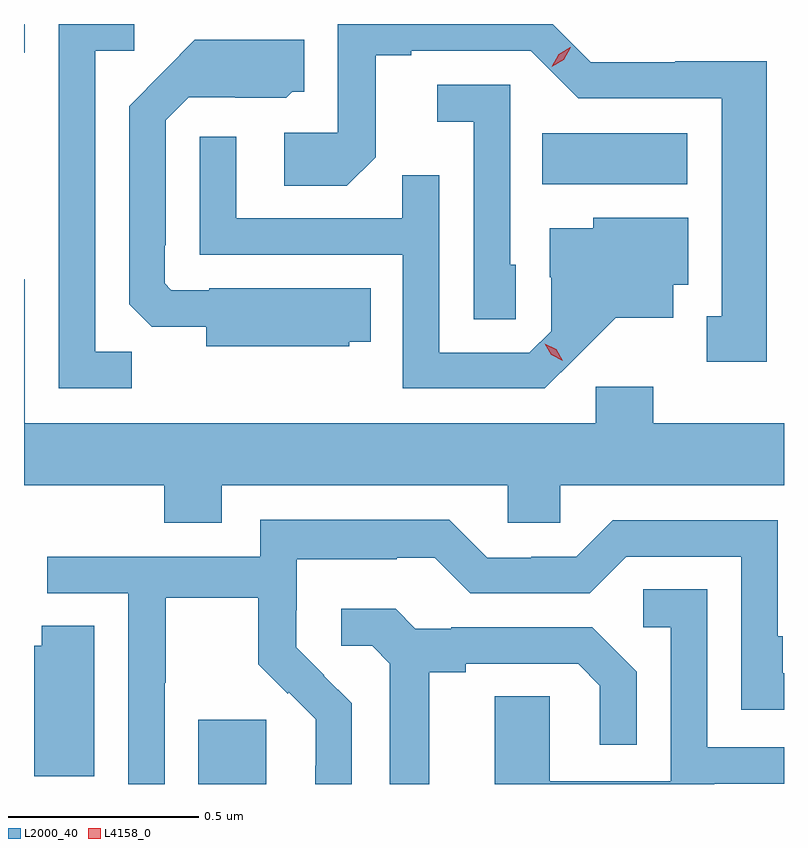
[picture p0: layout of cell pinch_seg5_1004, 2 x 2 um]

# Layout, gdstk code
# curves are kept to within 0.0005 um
import gdstk
lib = gdstk.Library(unit=1e-6, precision=1e-09)
def R(c, l, rs):  # rectangles x0, y0, x1, y1
    for r in rs: c.add(gdstk.rectangle(r[:2], r[2:], *l))
def P(c, l, *ps):  # polygons
    for p in ps: c.add(gdstk.Polygon(p, *l))
L2000_40 = (2000, 40)
L4158_0 = (4158, 0)

pinch_seg5_1004 = lib.new_cell('pinch_seg5_1004')
R(pinch_seg5_1004, L2000_40, [(748.073,910.586,748.252,910.755), (748.978,912.164,749.359,912.298), (747.614,912.51,747.616,912.586)])
P(pinch_seg5_1004, L2000_40, [(749.569,912.488),(749.328,912.488),(749.328,912.486),(749.106,912.486),(749.006,912.586),(748.44,912.586),(748.44,912.3),(748.299,912.3),(748.299,912.16),(748.463,912.16),(748.539,912.236),(748.539,912.504),(748.633,912.504),(748.633,912.516),(748.947,912.516),(749.073,912.39),(749.45,912.39),(749.45,911.817),(749.411,911.817),(749.411,911.697),(749.569,911.697)],
  [(747.897,911.723),(747.801,911.723),(747.801,912.516),(747.904,912.516),(747.904,912.586),(747.705,912.586),(747.705,911.628),(747.897,911.628)],
  [(748.47,911.75),(748.526,911.75),(748.526,911.89),(748.102,911.89),(748.102,911.886),(748.002,911.886),(747.984,911.904),(747.984,912.004),(747.987,912.004),(747.987,912.333),(748.047,912.393),(748.17,912.393),(748.17,912.392),(748.304,912.392),(748.32,912.408),(748.351,912.408),(748.351,912.544),(748.063,912.544),(747.891,912.37),(747.891,911.848),(747.95,911.789),(748.094,911.789),(748.094,911.738),(748.47,911.738)],
  [(748.908,911.952),(748.893,911.952),(748.893,912.426),(748.701,912.426),(748.701,912.329),(748.797,912.329),(748.797,911.809),(748.908,911.809)],
  [(749.068,911.711),(749.171,911.813),(749.323,911.813),(749.323,911.9),(749.362,911.9),(749.362,912.076),(749.112,912.076),(749.112,912.049),(748.997,912.049),(748.997,911.92),(749.001,911.92),(749.001,911.778),(748.944,911.721),(748.707,911.721),(748.707,912.188),(748.609,912.188),(748.609,912.075),(748.173,912.075),(748.173,912.289),(748.077,912.289),(748.077,911.979),(748.611,911.979),(748.611,911.628),(748.984,911.628)],
  [(748.135,911.372),(748.887,911.372),(748.887,911.274),(749.025,911.274),(749.025,911.372),(749.614,911.372),(749.614,911.536),(749.27,911.536),(749.27,911.632),(749.118,911.632),(749.118,911.536),(747.616,911.536),(747.616,911.914),(747.614,911.914),(747.614,911.372),(747.983,911.372),(747.983,911.273),(748.135,911.273)],
  [(747.984,910.852),(747.987,910.852),(747.987,911.076),(748.231,911.076),(748.231,910.901),(748.308,910.824),(748.311,910.827),(748.382,910.757),(748.382,910.634),(748.38,910.634),(748.38,910.586),(748.476,910.586),(748.476,910.798),(748.403,910.871),(748.404,910.872),(748.33,910.946),(748.33,911.043),(748.332,911.043),(748.332,911.177),(748.595,911.177),(748.595,911.181),(748.695,911.181),(748.788,911.088),(749.103,911.088),(749.199,911.184),(749.502,911.184),(749.502,910.782),(749.614,910.782),(749.614,910.878),(749.611,910.878),(749.611,910.975),(749.598,910.975),(749.598,911.28),(749.163,911.28),(749.067,911.184),(748.949,911.184),(748.949,911.181),(748.833,911.181),(748.733,911.281),(748.236,911.281),(748.236,911.184),(747.675,911.184),(747.675,911.088),(747.888,911.088),(747.888,910.586),(747.984,910.586)],
  [(749.431,910.587),(749.614,910.587),(749.614,910.683),(749.412,910.683),(749.412,911.099),(749.244,911.099),(749.244,910.998),(749.316,910.998),(749.316,910.593),(748.998,910.593),(748.998,910.817),(748.853,910.817),(748.853,910.586),(749.431,910.586)],
  [(748.681,910.88),(748.777,910.88),(748.777,910.902),(749.072,910.902),(749.129,910.845),(749.129,910.689),(749.226,910.689),(749.226,910.882),(749.11,910.998),(748.738,910.998),(748.738,910.995),(748.644,910.995),(748.592,911.047),(748.449,911.047),(748.449,910.95),(748.53,910.95),(748.577,910.903),(748.577,910.586),(748.681,910.586)],
  [(747.799,911.003),(747.661,911.003),(747.661,910.95),(747.641,910.95),(747.641,910.606),(747.799,910.606)])
P(pinch_seg5_1004, L4158_0, [(749.003,912.473),(749.003,912.474),(749.021,912.506),(749.052,912.525),(749.053,912.525),(749.053,912.525),(749.035,912.492),(749.003,912.473)],
  [(749.032,911.7),(749.001,911.715),(748.984,911.744),(748.984,911.745),(748.984,911.745),(749.015,911.73),(749.032,911.7),(749.032,911.7)])

lib.write_gds('pinch_seg5_1004.gds')
